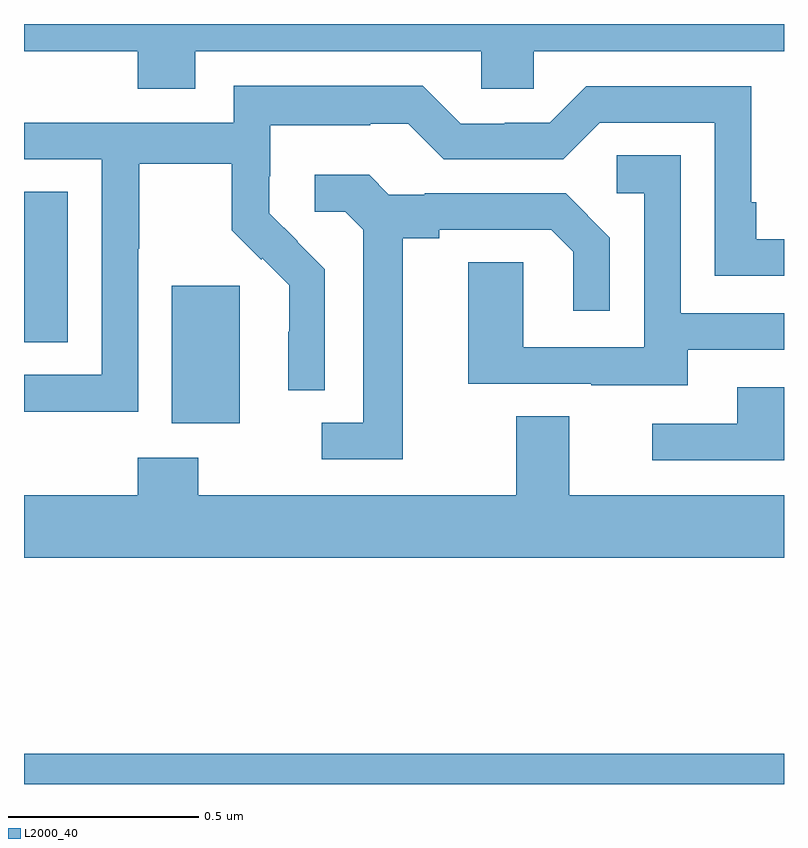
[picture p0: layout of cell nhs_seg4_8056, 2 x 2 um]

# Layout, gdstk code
import gdstk
lib = gdstk.Library(unit=1e-6, precision=1e-09)
def R(c, l, rs):  # rectangles x0, y0, x1, y1
    for r in rs: c.add(gdstk.rectangle(r[:2], r[2:], *l))
def P(c, l, *ps):  # polygons
    for p in ps: c.add(gdstk.Polygon(p, *l))
L2000_40 = (2000, 40)

nhs_seg4_8056 = lib.new_cell('nhs_seg4_8056')
R(nhs_seg4_8056, L2000_40, [(210,786.9,212,786.98), (210.389,787.85,210.568,788.211), (210,788.062,210.115,788.459)])
P(nhs_seg4_8056, L2000_40, [(210.451,788.828),(211.203,788.828),(211.203,788.73),(211.341,788.73),(211.341,788.828),(212,788.828),(212,788.9),(210,788.9),(210,788.828),(210.299,788.828),(210.299,788.729),(210.451,788.729)],
  [(210.3,788.308),(210.303,788.308),(210.303,788.532),(210.547,788.532),(210.547,788.357),(210.624,788.28),(210.627,788.283),(210.698,788.213),(210.698,788.09),(210.696,788.09),(210.696,787.936),(210.792,787.936),(210.792,788.254),(210.719,788.327),(210.72,788.328),(210.646,788.402),(210.646,788.499),(210.648,788.499),(210.648,788.633),(210.911,788.633),(210.911,788.637),(211.011,788.637),(211.104,788.544),(211.419,788.544),(211.515,788.64),(211.818,788.64),(211.818,788.238),(212,788.238),(212,788.334),(211.927,788.334),(211.927,788.431),(211.914,788.431),(211.914,788.736),(211.479,788.736),(211.383,788.64),(211.265,788.64),(211.265,788.637),(211.149,788.637),(211.049,788.737),(210.552,788.737),(210.552,788.64),(210,788.64),(210,788.544),(210.204,788.544),(210.204,787.977),(210,787.977),(210,787.879),(210.3,787.879)],
  [(211.747,788.043),(212,788.043),(212,788.139),(211.728,788.139),(211.728,788.555),(211.56,788.555),(211.56,788.454),(211.632,788.454),(211.632,788.049),(211.314,788.049),(211.314,788.273),(211.169,788.273),(211.169,787.953),(211.493,787.953),(211.493,787.949),(211.747,787.949)],
  [(210.997,788.336),(211.093,788.336),(211.093,788.358),(211.388,788.358),(211.445,788.301),(211.445,788.145),(211.542,788.145),(211.542,788.338),(211.426,788.454),(211.054,788.454),(211.054,788.451),(210.96,788.451),(210.908,788.503),(210.765,788.503),(210.765,788.406),(210.846,788.406),(210.893,788.359),(210.893,787.851),(210.783,787.851),(210.783,787.755),(210.997,787.755)],
  [(212,787.944),(211.877,787.944),(211.877,787.848),(211.653,787.848),(211.653,787.752),(212,787.752)],
  [(212,787.66),(211.435,787.66),(211.435,787.868),(211.295,787.868),(211.295,787.66),(210.459,787.66),(210.459,787.759),(210.299,787.759),(210.299,787.66),(210,787.66),(210,787.496),(212,787.496)])

lib.write_gds('nhs_seg4_8056.gds')
